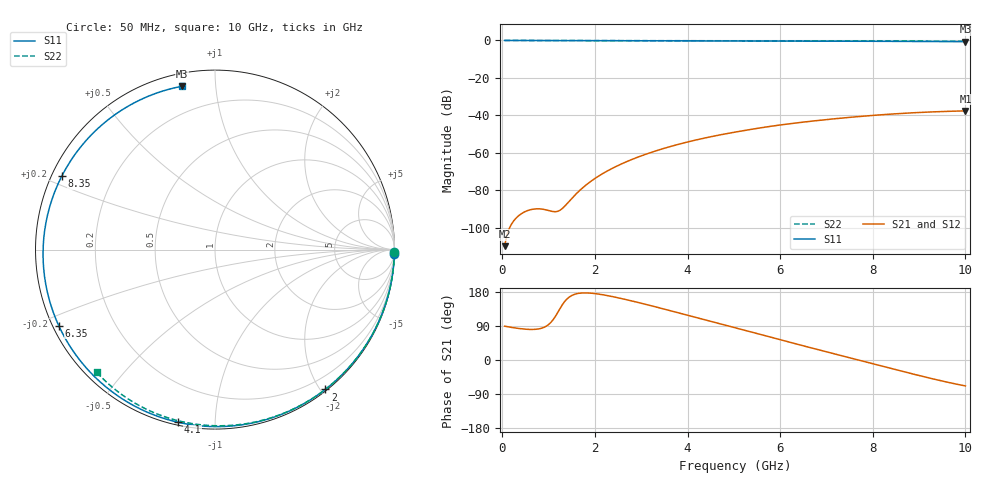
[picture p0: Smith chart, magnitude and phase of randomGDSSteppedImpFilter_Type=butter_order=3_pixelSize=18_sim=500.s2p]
! freq	dB(S11)	phase(S11)	dB(S12)	phase(S12)
!  dB(S21)	phase(S21)	dB(S22)	phase(S22)
!S-par simulation data
#  GHz  S  DB  R 50
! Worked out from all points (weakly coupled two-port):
!   200 points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, 50 MHz to 10 GHz, reference 50 ohm
!   highest |S21| = -37.64 dB at 10 GHz (marker M1); lowest = -109.9 dB at 50 MHz (marker M2)
!   lowest |S11| = -0.6 dB at 10 GHz (marker M3), VSWR 26.88, Z = 3.1 + j40.9 ohm
!   |S11| at or under -10 dB: nowhere
!   |S22| runs from -0.5 to 0.0 dB; largest |S21 - S12| = 0
!   S11 on the Smith chart (normalised r, x): 50 MHz: 0, -86; 2 GHz: 0.02, -2.06; 4.1 GHz: 0.01, -0.81; 6.35 GHz: 0.02, -0.23; 8.35 GHz: 0.03, +0.23; 10 GHz: 0.06, +0.82
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0.05  -0.00 -1.3  -109.95 89.2  -109.95 89.2  -0.00 -0.8
0.8  -0.03 -21.0  -90.01 82.4  -90.01 82.4  -0.01 -12.3
1.65  -0.05 -42.9  -80.66 175.9  -80.66 175.9  -0.03 -25.1
1.75  -0.06 -45.5  -78.44 177.0  -78.44 177.0  -0.03 -26.6
2  -0.07 -51.8  -73.78 175.3  -73.78 175.3  -0.04 -30.3
2.3  -0.08 -59.2  -69.33 169.3  -69.33 169.3  -0.04 -34.8
2.6  -0.09 -66.6  -65.69 161.5  -65.69 161.5  -0.05 -39.2
3  -0.10 -76.3  -61.69 149.8  -61.69 149.8  -0.06 -45.0
3.4  -0.11 -85.8  -58.36 137.4  -58.36 137.4  -0.07 -50.7
4.1  -0.14 -102.2  -53.67 114.9  -53.67 114.9  -0.08 -60.5
5.05  -0.19 -124.0  -48.88 84.2  -48.88 84.2  -0.11 -73.3
5.7  -0.23 -138.9  -46.23 63.4  -46.23 63.4  -0.14 -81.8
6.35  -0.28 -154.1  -44.08 42.2  -44.08 42.2  -0.16 -90.1
6.7  -0.31 -162.5  -43.08 31.1  -43.08 31.1  -0.18 -94.5
7.15  -0.35 -173.5  -41.92 16.9  -41.92 16.9  -0.21 -100.0
7.55  -0.39 176.3  -40.99 4.3  -40.99 4.3  -0.23 -104.9
7.95  -0.43 165.6  -40.16 -8.3  -40.16 -8.3  -0.26 -109.7
8.35  -0.47 154.5  -39.43 -20.9  -39.43 -20.9  -0.29 -114.5
8.75  -0.52 142.7  -38.82 -33.4  -38.82 -33.4  -0.32 -119.2
9.15  -0.56 130.3  -38.32 -45.5  -38.32 -45.5  -0.36 -123.9
9.6  -0.61 115.4  -37.91 -58.3  -37.91 -58.3  -0.41 -129.2
10  -0.65 101.4  -37.64 -68.4  -37.64 -68.4  -0.45 -133.9
